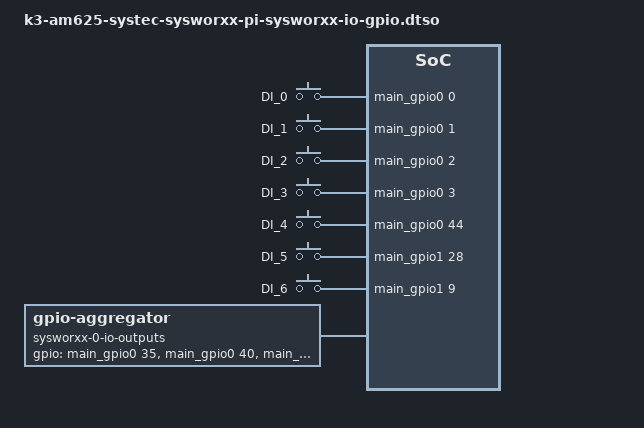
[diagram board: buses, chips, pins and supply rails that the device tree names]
// SPDX-License-Identifier: GPL-2.0

/**
 * Copyright (C) 2025 SYS TEC electronic AG
 *
 * Basic GPIO device tree overlay
 */

/dts-v1/;
/plugin/;

#include <dt-bindings/gpio/gpio.h>
#include <dt-bindings/input/input.h>
#include "k3-pinctrl.h"

&main_pmx0 {
	gpio0_pins_inputs: gpio0-pins-inputs {
		pinctrl-single,pins = <
			AM62X_IOPAD(0x0000, PIN_INPUT_PULLDOWN, 7) /* (H24) OSPI0_CLK.GPIO0_0 */
			AM62X_IOPAD(0x0004, PIN_INPUT_PULLDOWN, 7) /* (G25) OSPI0_LBCLKO.GPIO0_1 */
			AM62X_IOPAD(0x0008, PIN_INPUT_PULLDOWN, 7) /* (J24) OSPI0_DQS.GPIO0_2 */
			AM62X_IOPAD(0x000c, PIN_INPUT_PULLDOWN, 7) /* (E25) OSPI0_D0.GPIO0_3 */
			AM62X_IOPAD(0x00b4, PIN_INPUT, 7) /* (K24) GPMC0_CSn3.GPIO0_44 */
		>;
	};

	gpio1_pins_inputs: gpio1-pins-inputs {
		pinctrl-single,pins = <
			AM62X_IOPAD(0x01e8, PIN_INPUT_PULLDOWN, 7) /* (B17) I2C1_SCL.GPIO1_28 */
			AM62X_IOPAD(0x019c, PIN_INPUT_PULLDOWN, 7) /* (B18) MCASP0_AXR1.GPIO1_9 */
		>;
	};

	gpio0_pins_outputs: gpio0-pins-outputs {
		pinctrl-single,pins = <
			AM62X_IOPAD(0x0090, PIN_INPUT_PULLDOWN, 7) /* (M24) GPMC0_BE0n_CLE.GPIO0_35 */
			AM62X_IOPAD(0x00a4, PIN_INPUT_PULLDOWN, 7) /* (M22) GPMC0_DIR.GPIO0_40 */
			AM62X_IOPAD(0x00b0, PIN_INPUT, 7) /* (K22) GPMC0_CSn2.GPIO0_43 */
			AM62X_IOPAD(0x00a8, PIN_INPUT_PULLDOWN, 7) /* (M21) GPMC0_CSn0.GPIO0_41 */
			AM62X_IOPAD(0x0010, PIN_INPUT_PULLDOWN, 7) /* (G24) OSPI0_D1.GPIO0_4 */
		>;
	};
};

&{/} {
	sysworxx-0-io-inputs {
		pinctrl-names = "default";
		pinctrl-0 = <&gpio0_pins_inputs>, <&gpio1_pins_inputs>;
		compatible = "gpio-keys";

		di@0 { label = "DI_0"; linux,code = <BTN_TRIGGER_HAPPY1>; gpios = <&main_gpio0 0 GPIO_ACTIVE_HIGH>; };
		di@1 { label = "DI_1"; linux,code = <BTN_TRIGGER_HAPPY2>; gpios = <&main_gpio0 1 GPIO_ACTIVE_HIGH>; };
		di@2 { label = "DI_2"; linux,code = <BTN_TRIGGER_HAPPY3>; gpios = <&main_gpio0 2 GPIO_ACTIVE_HIGH>; };
		di@3 { label = "DI_3"; linux,code = <BTN_TRIGGER_HAPPY4>; gpios = <&main_gpio0 3 GPIO_ACTIVE_HIGH>; };
		di@4 { label = "DI_4"; linux,code = <BTN_TRIGGER_HAPPY5>; gpios = <&main_gpio0 44 GPIO_ACTIVE_HIGH>; };
		di@5 { label = "DI_5"; linux,code = <BTN_TRIGGER_HAPPY6>; gpios = <&main_gpio1 28 GPIO_ACTIVE_HIGH>; };
		di@6 { label = "DI_6"; linux,code = <BTN_TRIGGER_HAPPY7>; gpios = <&main_gpio1 9 GPIO_ACTIVE_HIGH>; };
	};

	sysworxx-0-io-outputs {
		pinctrl-names = "default";
		pinctrl-0 = <&gpio0_pins_outputs>;
		compatible = "gpio-aggregator";

		gpios = <&main_gpio0 35 GPIO_ACTIVE_HIGH>,
				<&main_gpio0 40 GPIO_ACTIVE_HIGH>,
				<&main_gpio0 43 GPIO_ACTIVE_HIGH>,
				<&main_gpio0 41 GPIO_ACTIVE_HIGH>,
				<&main_gpio0 4 GPIO_ACTIVE_HIGH>;
		gpio-line-names =	"DO_0",
							"DO_1",
							"DO_2",
							"DO_3",
							"DO_4";
	};
};
